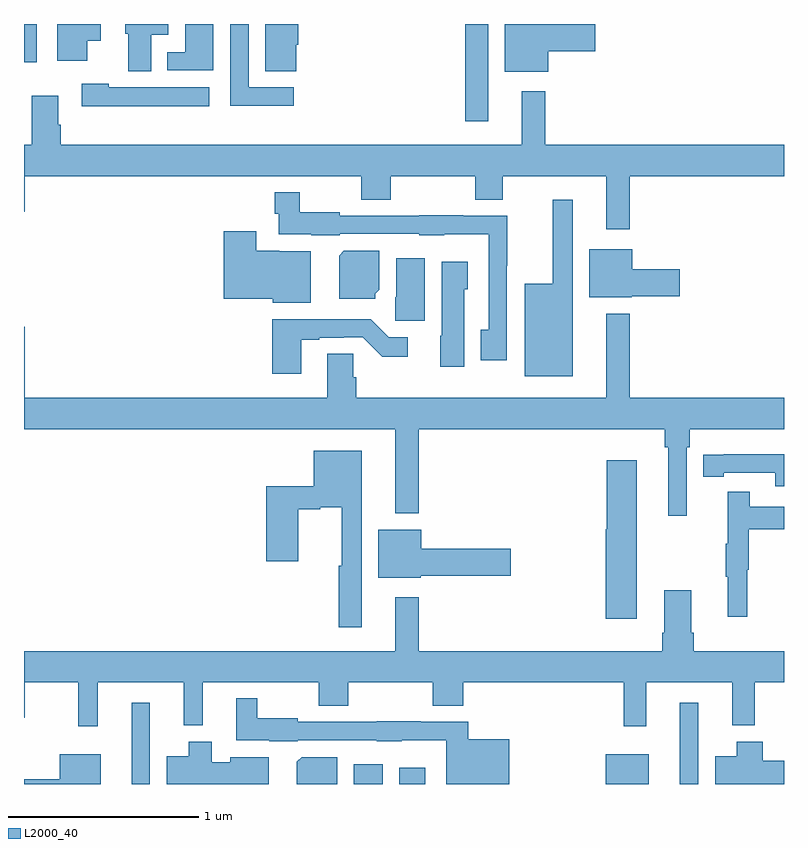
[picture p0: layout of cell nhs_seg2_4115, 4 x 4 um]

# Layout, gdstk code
import gdstk
lib = gdstk.Library(unit=1e-6, precision=1e-09)
def R(c, l, rs):  # rectangles x0, y0, x1, y1
    for r in rs: c.add(gdstk.rectangle(r[:2], r[2:], *l))
def P(c, l, *ps):  # polygons
    for p in ps: c.add(gdstk.Polygon(p, *l))
L2000_40 = (2000, 40)

nhs_seg2_4115 = lib.new_cell('nhs_seg2_4115')
R(nhs_seg2_4115, L2000_40, [(333.566,613.8,333.663,614.227), (334.736,613.8,334.888,613.903), (334.976,613.8,335.113,613.885), (336.062,613.8,336.289,613.957), (336.452,613.8,336.549,614.227), (335.322,617.289,335.443,617.8), (333,617.598,333.066,617.8)])
P(nhs_seg2_4115, L2000_40, [(334.42,617.466),(334.182,617.466),(334.182,617.8),(334.086,617.8),(334.086,617.369),(334.42,617.369)],
  [(333.334,617.711),(333.403,617.711),(333.403,617.8),(333.176,617.8),(333.176,617.607),(333.334,617.607)],
  [(333.67,617.744),(333.76,617.744),(333.76,617.8),(333.533,617.8),(333.533,617.748),(333.548,617.748),(333.548,617.552),(333.67,617.552)],
  [(333.997,617.8),(333.848,617.8),(333.848,617.652),(333.755,617.652),(333.755,617.556),(333.997,617.556)],
  [(334.432,617.691),(334.444,617.691),(334.444,617.8),(334.271,617.8),(334.271,617.551),(334.432,617.551)],
  [(335.758,617.656),(336.007,617.656),(336.007,617.798),(335.754,617.798),(335.754,617.8),(335.531,617.8),(335.531,617.549),(335.758,617.549)],
  [(333.976,617.467),(333.447,617.467),(333.447,617.485),(333.303,617.485),(333.303,617.366),(333.976,617.366)],
  [(336.187,617),(337,617),(337,617.164),(335.743,617.164),(335.743,617.446),(335.621,617.446),(335.621,617.164),(333.194,617.164),(333.194,617.27),(333.181,617.27),(333.181,617.422),(333.041,617.422),(333.041,617.164),(333,617.164),(333,616.812),(333.004,616.812),(333.004,617),(334.774,617),(334.774,616.876),(334.929,616.876),(334.929,617),(335.374,617),(335.374,616.876),(335.521,616.876),(335.521,617),(336.065,617),(336.065,616.719),(336.187,616.719)],
  [(335.541,616.528),(335.544,616.528),(335.544,616.791),(335.311,616.791),(335.311,616.793),(335.079,616.793),(335.079,616.791),(334.662,616.791),(334.662,616.81),(334.45,616.81),(334.45,616.915),(334.321,616.915),(334.321,616.802),(334.341,616.802),(334.341,616.694),(334.512,616.694),(334.512,616.688),(334.662,616.688),(334.662,616.695),(335.079,616.695),(335.079,616.688),(335.211,616.688),(335.211,616.694),(335.445,616.694),(335.445,616.19),(335.405,616.19),(335.405,616.029),(335.541,616.029)],
  [(335.887,616.876),(335.783,616.876),(335.783,616.432),(335.636,616.432),(335.636,615.947),(335.887,615.947)],
  [(334.51,616.604),(334.344,616.604),(334.344,616.606),(334.222,616.606),(334.222,616.708),(334.052,616.708),(334.052,616.355),(334.308,616.355),(334.308,616.334),(334.51,616.334)],
  [(336.198,616.367),(336.451,616.367),(336.451,616.509),(336.202,616.509),(336.202,616.615),(335.975,616.615),(335.975,616.361),(336.198,616.361)],
  [(334.848,616.38),(334.87,616.402),(334.87,616.606),(334.684,616.606),(334.658,616.58),(334.658,616.355),(334.848,616.355)],
  [(335.11,616.567),(334.958,616.567),(334.958,616.362),(334.954,616.362),(334.954,616.239),(335.11,616.239)],
  [(335.317,616.404),(335.335,616.404),(335.335,616.549),(335.198,616.549),(335.198,616.158),(335.192,616.158),(335.192,615.996),(335.317,615.996)],
  [(336.489,615.572),(336.503,615.572),(336.503,615.668),(337,615.668),(337,615.832),(336.187,615.832),(336.187,616.276),(336.065,616.276),(336.065,615.832),(334.748,615.832),(334.748,615.942),(334.734,615.942),(334.734,616.064),(334.595,616.064),(334.595,615.832),(333.004,615.832),(333.004,616.207),(333,616.207),(333,615.668),(334.955,615.668),(334.955,615.224),(335.077,615.224),(335.077,615.668),(336.373,615.668),(336.373,615.572),(336.392,615.572),(336.392,615.213),(336.489,615.213)],
  [(334.459,616.137),(334.555,616.137),(334.555,616.149),(334.682,616.149),(334.682,616.152),(334.782,616.152),(334.885,616.05),(335.02,616.05),(335.02,616.152),(334.92,616.152),(334.826,616.246),(334.307,616.246),(334.307,615.96),(334.459,615.96)],
  [(334.777,615.553),(334.526,615.553),(334.526,615.367),(334.274,615.367),(334.274,614.973),(334.444,614.973),(334.444,615.245),(334.559,615.245),(334.559,615.257),(334.673,615.257),(334.673,614.949),(334.656,614.949),(334.656,614.625),(334.777,614.625)],
  [(337,615.535),(336.682,615.535),(336.682,615.534),(336.574,615.534),(336.574,615.418),(336.682,615.418),(336.682,615.438),(336.954,615.438),(336.954,615.366),(337,615.366)],
  [(336.226,615.505),(336.068,615.505),(336.068,615.141),(336.062,615.141),(336.062,614.67),(336.226,614.67)],
  [(336.806,614.928),(336.814,614.928),(336.814,615.142),(337,615.142),(337,615.258),(336.821,615.258),(336.821,615.337),(336.704,615.337),(336.704,615.065),(336.693,615.065),(336.693,614.891),(336.704,614.891),(336.704,614.679),(336.806,614.679)],
  [(335.088,614.896),(335.563,614.896),(335.563,615.038),(335.092,615.038),(335.092,615.139),(334.865,615.139),(334.865,614.885),(335.088,614.885)],
  [(333.389,614.336),(333.842,614.336),(333.842,614.108),(333.941,614.108),(333.941,614.336),(334.552,614.336),(334.552,614.212),(334.707,614.212),(334.707,614.336),(335.152,614.336),(335.152,614.212),(335.312,614.212),(335.312,614.336),(336.157,614.336),(336.157,614.103),(336.275,614.103),(336.275,614.336),(336.728,614.336),(336.728,614.108),(336.845,614.108),(336.845,614.336),(337,614.336),(337,614.5),(336.524,614.5),(336.524,614.596),(336.511,614.596),(336.511,614.821),(336.371,614.821),(336.371,614.596),(336.359,614.596),(336.359,614.5),(335.077,614.5),(335.077,614.782),(334.955,614.782),(334.955,614.5),(333,614.5),(333,614.148),(333.004,614.148),(333.004,614.336),(333.286,614.336),(333.286,614.103),(333.389,614.103)],
  [(335.554,614.035),(335.339,614.035),(335.339,614.127),(335.089,614.127),(335.089,614.129),(334.857,614.129),(334.857,614.127),(334.44,614.127),(334.44,614.146),(334.228,614.146),(334.228,614.251),(334.118,614.251),(334.118,614.03),(334.29,614.03),(334.29,614.024),(334.44,614.024),(334.44,614.031),(334.857,614.031),(334.857,614.024),(334.989,614.024),(334.989,614.03),(335.223,614.03),(335.223,613.8),(335.554,613.8)],
  [(334.288,613.942),(334.086,613.942),(334.086,613.915),(333.988,613.915),(333.988,614.023),(333.866,614.023),(333.866,613.945),(333.752,613.945),(333.752,613.8),(334.288,613.8)],
  [(337,613.923),(336.887,613.923),(336.887,614.023),(336.752,614.023),(336.752,613.945),(336.638,613.945),(336.638,613.8),(337,613.8)],
  [(333.403,613.957),(333.188,613.957),(333.188,613.826),(333,613.826),(333,613.8),(333.403,613.8)],
  [(334.648,613.942),(334.462,613.942),(334.436,613.916),(334.436,613.8),(334.648,613.8)])

lib.write_gds('nhs_seg2_4115.gds')
